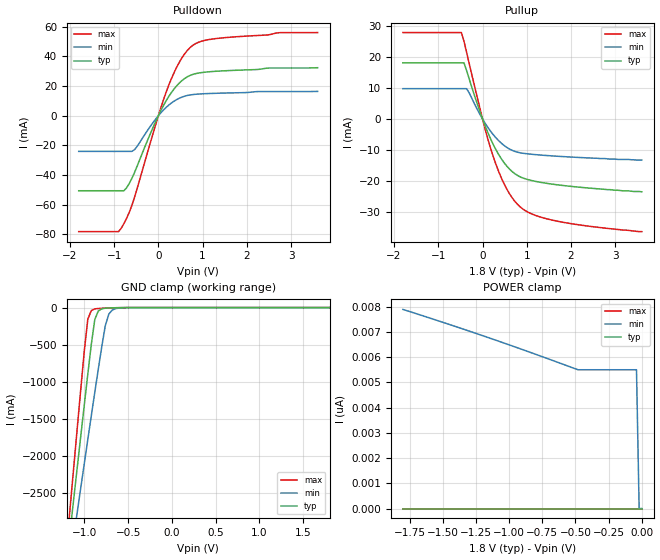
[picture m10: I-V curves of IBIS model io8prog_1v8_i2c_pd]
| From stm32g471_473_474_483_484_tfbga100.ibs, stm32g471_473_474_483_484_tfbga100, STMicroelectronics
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|   Model io8prog_1v8_i2c_pd
[Model]  io8prog_1v8_i2c_pd
Model_type I/O
Polarity   Non-Inverting
Enable   Active-Low
Vinl =   0.540000V
Vinh =   1.260000V
Vmeas =  0.900000V
Cref =   100.000000nF
Rref =   1.000000k
Vref =   1.800000V
C_comp   2.197300pF   2.162700pF   2.264100pF
[Temperature Range]   25.000000   0.125000k   -40.000000
[Pullup Reference]   1.800000V   1.600000V   2.000000V
[Pulldown Reference]   0.0V   0.0V   0.0V
[POWER Clamp Reference]   1.800000V   1.600000V   2.000000V
[GND Clamp Reference]   0.0V   0.0V   0.0V
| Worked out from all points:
|   slope of the pulldown table from 0 to 0.27 V, typ, clamps not added: 18.6 ohm
|   slope of the pullup table from 0 to 0.27 V, typ, clamps not added: 30.1 ohm
|   GND clamp passes 1 mA (typ) near -0.58 V on its own axis
[Pulldown]
|Voltage   I(typ)   I(min)   I(max)
-1.8V     -50.56mA   -24.03mA   -78.13mA
-900mV    -50.56mA   -24.03mA   -78.13mA
-840mV    -50.56mA   -24.03mA   -75.89mA
-720mV    -48.68mA   -24.03mA   -69.28mA
-540mV    -38.37mA   -22.9mA    -55.15mA
-60mV     -3.89mA    -2.235mA   -5.966mA
240mV     13.2mA     7.298mA    20.96mA
480mV     22.23mA    11.89mA    36.36mA
720mV     27.21mA    14.03mA    46.04mA
960mV     29.03mA    14.72mA    50.09mA
1.32V     30.01mA    15.15mA    52.08mA
3.6V      32.38mA    16.41mA    56.09mA
[Pullup]
|Voltage   I(typ)   I(min)   I(max)
-1.8V     18.05mA    9.741mA    27.78mA
-480mV    18.05mA    9.741mA    27.78mA
-420mV    18.05mA    9.741mA    25.03mA
-360mV    15.57mA    9.741mA    21.38mA
60mV      -2.268mA   -1.401mA   -3.341mA
240mV     -8.143mA   -5.004mA   -12mA
360mV     -11.31mA   -6.914mA   -16.72mA
540mV     -15mA      -9.056mA   -22.31mA
840mV     -18.52mA   -10.83mA   -28.11mA
1.14V     -19.87mA   -11.38mA   -30.67mA
1.68V     -21.13mA   -11.96mA   -32.81mA
3.6V      -23.4mA    -13.2mA    -36.2mA
[GND_clamp]
|Voltage   I(typ)   I(min)   I(max)
-1.8V     -9.861A    -8.8A      -9.626A
-1.16V    -3.004A    -3.417A    -2.68A
-1.12V    -2.579A    -3.088A    -2.15A
-1.08V    -2.155A    -2.76A     -1.623A
-1V       -1.315A    -2.108A    -586.3mA
-960mV    -900.6mA   -1.784A    -158.3mA
-920mV    -496.8mA   -1.462A    -39.4mA
-880mV    -160.5mA   -1.144A    -17.83mA
-840mV    -45.94mA   -830.4mA   -12.53mA
-760mV    -8.275mA   -243mA     -7.558mA
-680mV    -3.402mA   -33.06mA   -3.844mA
1.8V      47.61uA    51.9uA     39.21uA
[POWER_clamp]
|Voltage   I(typ)   I(min)   I(max)
-1.8V     0A         7.891nA    0A
-1.14V    0A         6.744nA    0A
-480mV    0A         5.5nA      0A
-40mV     0A         5.5nA      0A
-20mV     0A         0A         0A
0V        0A         0A         0A
[Ramp]
| variable   typ   min   max
dV/dt_r  0.56009/6.00000u   0.33637/6.00000u   0.77826/6.00000u
dV/dt_f  0.73725/6.00000u   0.43643/6.00000u   0.95858/6.00000u
R_load = 50.000000
|End [Model] io8prog_1v8_i2c_pd
